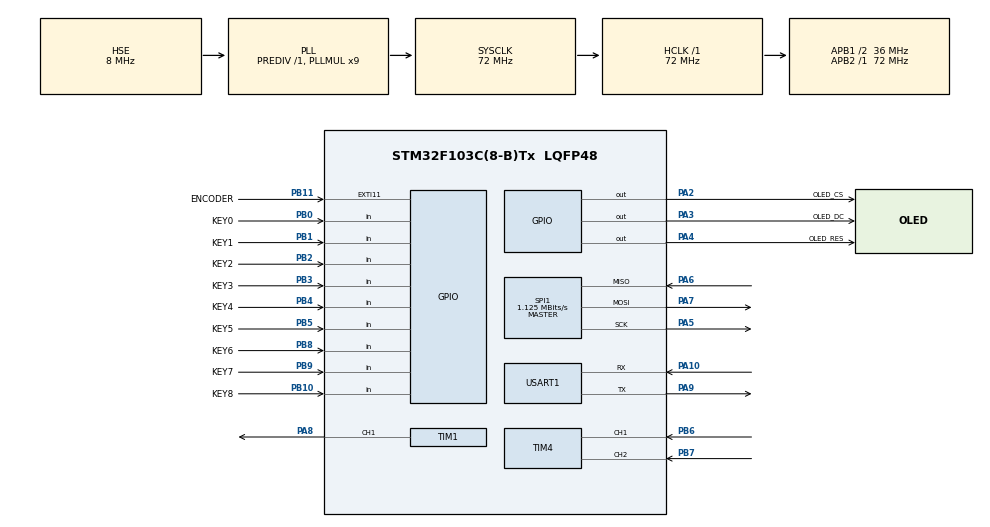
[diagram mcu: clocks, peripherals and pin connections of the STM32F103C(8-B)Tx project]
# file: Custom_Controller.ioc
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Dma.Request0=TIM1_CH1
Dma.TIM1_CH1.0.Direction=DMA_MEMORY_TO_PERIPH
Dma.TIM1_CH1.0.Instance=DMA1_Channel2
Dma.TIM1_CH1.0.MemDataAlignment=DMA_MDATAALIGN_HALFWORD
Dma.TIM1_CH1.0.MemInc=DMA_MINC_ENABLE
Dma.TIM1_CH1.0.Mode=DMA_NORMAL
Dma.TIM1_CH1.0.PeriphDataAlignment=DMA_PDATAALIGN_HALFWORD
Dma.TIM1_CH1.0.PeriphInc=DMA_PINC_DISABLE
Dma.TIM1_CH1.0.Priority=DMA_PRIORITY_HIGH
Mcu.Family=STM32F1
Mcu.Name=STM32F103C(8-B)Tx
Mcu.Package=LQFP48
NVIC.DMA1_Channel2_IRQn=true\:1\:0\:true\:false\:true\:false\:true\:true
NVIC.EXTI15_10_IRQn=true\:2\:0\:true\:false\:true\:true\:true\:true
NVIC.PriorityGroup=NVIC_PRIORITYGROUP_4
NVIC.TIM2_IRQn=true\:1\:0\:true\:false\:true\:true\:true\:true
NVIC.TIM4_IRQn=true\:1\:0\:true\:false\:true\:true\:true\:true
PA10.Mode=Asynchronous
PA10.Signal=USART1_RX
PA13.Mode=Serial_Wire
PA13.Signal=SYS_JTMS-SWDIO
PA14.Mode=Serial_Wire
PA14.Signal=SYS_JTCK-SWCLK
PA2.GPIO_Label=OLED_CS
PA2.Signal=GPIO_Output
PA3.GPIO_Label=OLED_DC
PA3.Signal=GPIO_Output
PA4.GPIO_Label=OLED_RES
PA4.Signal=GPIO_Output
PA5.Mode=Full_Duplex_Master
PA5.Signal=SPI1_SCK
PA6.Mode=Full_Duplex_Master
PA6.Signal=SPI1_MISO
PA7.Mode=Full_Duplex_Master
PA7.Signal=SPI1_MOSI
PA8.GPIO_Speed=GPIO_SPEED_FREQ_HIGH
PA8.Signal=S_TIM1_CH1
PA9.Mode=Asynchronous
PA9.Signal=USART1_TX
PB0.GPIO_Label=KEY0
PB0.Signal=GPIO_Input
PB1.GPIO_Label=KEY1
PB1.Signal=GPIO_Input
PB10.GPIO_Label=KEY8
PB10.Signal=GPIO_Input
PB11.GPIO_Label=ENCODER
PB11.GPIO_ModeDefaultEXTI=GPIO_MODE_IT_FALLING
PB11.GPIO_PuPd=GPIO_PULLUP
PB11.Signal=GPXTI11
PB2.GPIO_Label=KEY2
PB2.Signal=GPIO_Input
PB3.GPIO_Label=KEY3
PB3.Signal=GPIO_Input
PB4.GPIO_Label=KEY4
PB4.Signal=GPIO_Input
PB5.GPIO_Label=KEY5
PB5.Signal=GPIO_Input
PB6.Signal=S_TIM4_CH1
PB7.Signal=S_TIM4_CH2
PB8.GPIO_Label=KEY6
PB8.Signal=GPIO_Input
PB9.GPIO_Label=KEY7
PB9.Signal=GPIO_Input
PD0-OSC_IN.Mode=HSE-External-Oscillator
PD0-OSC_IN.Signal=RCC_OSC_IN
PD1-OSC_OUT.Mode=HSE-External-Oscillator
PD1-OSC_OUT.Signal=RCC_OSC_OUT
ProjectManager.HeapSize=0x200
ProjectManager.StackSize=0x400
ProjectManager.TargetToolchain=CMake
RCC.AHBFreq_Value=72000000
RCC.APB1CLKDivider=RCC_HCLK_DIV2
RCC.APB1Freq_Value=36000000
RCC.APB1TimFreq_Value=72000000
RCC.APB2Freq_Value=72000000
RCC.APB2TimFreq_Value=72000000
RCC.HCLKFreq_Value=72000000
RCC.PLLMUL=RCC_PLL_MUL9
RCC.PLLSourceVirtual=RCC_PLLSOURCE_HSE
RCC.SYSCLKFreq_VALUE=72000000
RCC.SYSCLKSource=RCC_SYSCLKSOURCE_PLLCLK
RCC.USBFreq_Value=72000000
SH.S_TIM1_CH1.0=TIM1_CH1,PWM Generation1 CH1
SH.S_TIM4_CH1.0=TIM4_CH1,Encoder_Interface
SH.S_TIM4_CH2.0=TIM4_CH2,Encoder_Interface
SPI1.BaudRatePrescaler=SPI_BAUDRATEPRESCALER_64
SPI1.CalculateBaudRate=1.125 MBits/s
SPI1.Direction=SPI_DIRECTION_2LINES
SPI1.Mode=SPI_MODE_MASTER
SPI1.VirtualType=VM_MASTER
TIM1.Channel-PWM\ Generation1\ CH1=TIM_CHANNEL_1
TIM1.Period=89
TIM2.AutoReloadPreload=TIM_AUTORELOAD_PRELOAD_ENABLE
TIM2.Period=5000-1
TIM2.Prescaler=72-1
TIM4.EncoderMode=TIM_ENCODERMODE_TI12
USART1.VirtualMode=VM_ASYNC
VP_TIM1_VS_ClockSourceINT.Mode=Internal
VP_TIM2_VS_ClockSourceINT.Mode=Internal
board=custom

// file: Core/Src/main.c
/* USER CODE BEGIN Header */
/**
  ******************************************************************************
  * @file           : main.c
  * @brief          : Main program body
  ******************************************************************************
  * @attention
  *
  * Copyright (c) 2026 STMicroelectronics.
  * All rights reserved.
  *
  * This software is licensed under terms that can be found in the LICENSE file
  * in the root directory of this software component.
  * If no LICENSE file comes with this software, it is provided AS-IS.
  *
  ******************************************************************************
  */
/* USER CODE END Header */
#include "main.h"
#include "dma.h"
#include "spi.h"
#include "stm32f1xx_hal.h"
#include "tim.h"
#include "usart.h"
#include "gpio.h"

/* USER CODE BEGIN Includes */
#include "key.h"
#include "oled.h"
#include "ws2812b.h"
#include "encoder.h"
#include "custom_input_mapper.h"
#include "controller_to_keymouse.h"
#include <stdint.h>
/* USER CODE END Includes */

/* USER CODE BEGIN PM */
void MyKeyCallback(KeyEvent_t event, uint32_t param);      // 按键事件回调函数：根据事件类型发送串口数据、控制RGB等
/* USER CODE END PM */

/* USER CODE BEGIN PV */
static uint8_t key_param = 0;           // 按键事件参数：0-9分别对应9个按键，0表示无效
static uint8_t encoder_param = 0;       // 编码器事件参数：0-2分别对应3个编码器状态，0表示无效，1表示进入买弹面板,2表示进入确认界面
/* USER CODE END PV */

void SystemClock_Config(void);

int main(void)
{

  /* MCU Configuration--------------------------------------------------------*/

  /* Reset of all peripherals, Initializes the Flash interface and the Systick. */
  HAL_Init();

  /* Configure the system clock */
  SystemClock_Config();

  /* Initialize all configured peripherals */
  MX_GPIO_Init();
  MX_DMA_Init();
  MX_USART1_UART_Init();
  MX_SPI1_Init();
  MX_TIM1_Init();
  MX_TIM2_Init();
  MX_TIM4_Init();
  /* USER CODE BEGIN 2 */
  encoder_init();
  OLED_Init();
  ws2812b_init();
  Key_Init();
  custom_input_init();
  Key_RegisterCallback(MyKeyCallback);
  HAL_TIM_Base_Start_IT(&htim2);
  /* USER CODE END 2 */
  OLED_ColorTurn(0);              // 正常显示
  OLED_DisplayTurn(0);            // 不翻转
  OLED_ShowNum(0, 0, 42, 2, 16, 0);
  OLED_ShowString(16, 0, "mmAmmo:", 16, 0);
  OLED_Refresh();  // 刷新OLED显示
  int32_t last_total = 0;
  /* Infinite loop */
  while (1)
  {

    switch (key_param) {
      case 0:   break;
      case 1:   // 发送1弹操作：按下1弹键，点击对应位置，发送确认序列，点亮LED
        buy_42mmammo(1);

        key_param = 0;
        break;
      case 2:   // 发送5弹操作：按下5弹键，点击对应位置，发送确认序列，点亮LED
        buy_42mmammo(5);

        key_param = 0;
        break;
      case 3:   // 发送10弹操作：按下10弹键，点击对应位置，发送确认序列，点亮LED
        buy_42mmammo(10);

        key_param = 0;
        break;
      case 4:

        key_param = 0;
        break;
      case 5:

        key_param = 0;
        break;
      case 6:

        key_param = 0;
        break;
      case 7:

        key_param = 0;
        break;
      case 8:

        key_param = 0;
        break;
      case 9:

        key_param = 0;
        break;
      default:  key_param = 0; break;

    }

    if (encoder_param == 0) {
      // 无效状态，等待事件触发
    } else if (encoder_param == 1) {
      buy_42mmammo(last_total);  // 进入买弹面板：点击对应位置，发送打开购买界面序列
      encoder_param = 0;   // 重置编码器事件参数，等待旋转事件

      for (int i = 0; i < NUM_LEDS; i++) {
          ws2812b_set_color(i, 0, 0, 255);
        }
        ws2812b_show();  // 刷新LED显示

    } else if (encoder_param == 2) {

      //等待旋转编码器事件：根据旋转步数计算购买数量，发送购买操作，更新OLED显示
      int16_t step = encoder_get_count();
      int32_t total = encoder_get_total_count();
      if (step != 0) {
          last_total += step;  // 每步增加1弹
          if (last_total < 0) last_total = 0;  // 不允许负数
          if (last_total > 80) last_total = 80;  // 最大80弹
      }

      OLED_ShowNum(72, 0, last_total, 3, 16, 0);  // 在OLED上显示弹药数量
      OLED_Refresh();  // 刷新OLED显示

    } else {
      encoder_param = 0;   // 重置编码器事件参数
    }
  }
}

//定时器中断回调函数：每 5ms 调用一次按键扫描函数
void HAL_TIM_PeriodElapsedCallback(TIM_HandleTypeDef *htim)
{
    if (htim->Instance == TIM2) {
        Key_UpdateTick();   // 更新时间戳
        Key_TimerScan();   // 每 5ms 调用一次按键扫描
    }
}

//外部中断回调函数：将外部中断事件传递给按键处理函数
// void HAL_GPIO_EXTI_Callback(uint16_t GPIO_Pin) {
//     if(GPIO_Pin == GPIO_PIN_11) {   // 处理按键事件
//         if (encoder_param == 0) {
//           send_key_down(VK_O);  // 发送按键操作（如打开购买界面）
//           encoder_param = 1;   // 进入买弹面板
//         }else if (encoder_param == 1) {
//           encoder_param = 2;   // 进入确认界面
//         }else {
//           encoder_param = 0;   // 重置编码器事件参数
//         }
//     }
// }

// 按键事件回调函数：根据事件类型发送串口数据、控制RGB等
void MyKeyCallback(KeyEvent_t event, uint32_t param) {
  switch (event) {
        case KEY_EVENT_PRESS:        // 短按
            switch (param) {
              case 0:  key_param = 1; break;
              case 1:  key_param = 2; break;
              case 2:  key_param = 3; break;
              case 3:  key_param = 4; break;
              case 4:  key_param = 5; break;
              case 5:  key_param = 6; break;
              case 6:  key_param = 7; break;
              case 7:  key_param = 8; break;
              case 8:  key_param = 9; break;
              case 9:  encoder_param = 1; break;
              default:  key_param = 0; break;
            }
            break;
        case KEY_EVENT_LONG_PRESS:    // 长按

            break;
        case KEY_EVENT_REPEAT:        // 长按重复触发

            break;
        case KEY_EVENT_DOUBLE_CLICK:  // 双击事件
            if (param == 9) {
              encoder_reset_count();  // 重置编码器计数，准备检测旋转事件
              encoder_param = 2;  // 编码器按键双击事件
              for (int i = 0; i < NUM_LEDS; i++) {
                ws2812b_set_color(i, 255, 0, 255);
              }
              ws2812b_show();  // 刷新LED显示
            } else {
              key_param = 0;   // 其他按键不处理双击事件
            }
            break;

        case KEY_EVENT_RELEASE:
            // 释放可做额外处理
            break;
        case KEY_EVENT_COMBO:         // 组合键，param为bitmask

            break;
        default:
            break;
    }
}

void SystemClock_Config(void)
{
  RCC_OscInitTypeDef RCC_OscInitStruct = {0};
  RCC_ClkInitTypeDef RCC_ClkInitStruct = {0};

  /** Initializes the RCC Oscillators according to the specified parameters
  * in the RCC_OscInitTypeDef structure.
  */
  RCC_OscInitStruct.OscillatorType = RCC_OSCILLATORTYPE_HSE;
  RCC_OscInitStruct.HSEState = RCC_HSE_ON;
  RCC_OscInitStruct.HSEPredivValue = RCC_HSE_PREDIV_DIV1;
  RCC_OscInitStruct.HSIState = RCC_HSI_ON;
  RCC_OscInitStruct.PLL.PLLState = RCC_PLL_ON;
  RCC_OscInitStruct.PLL.PLLSource = RCC_PLLSOURCE_HSE;
  RCC_OscInitStruct.PLL.PLLMUL = RCC_PLL_MUL9;
  if (HAL_RCC_OscConfig(&RCC_OscInitStruct) != HAL_OK)
  {
    Error_Handler();
  }

  /** Initializes the CPU, AHB and APB buses clocks
  */
  RCC_ClkInitStruct.ClockType = RCC_CLOCKTYPE_HCLK|RCC_CLOCKTYPE_SYSCLK
                              |RCC_CLOCKTYPE_PCLK1|RCC_CLOCKTYPE_PCLK2;
  RCC_ClkInitStruct.SYSCLKSource = RCC_SYSCLKSOURCE_PLLCLK;
  RCC_ClkInitStruct.AHBCLKDivider = RCC_SYSCLK_DIV1;
  RCC_ClkInitStruct.APB1CLKDivider = RCC_HCLK_DIV2;
  RCC_ClkInitStruct.APB2CLKDivider = RCC_HCLK_DIV1;

  if (HAL_RCC_ClockConfig(&RCC_ClkInitStruct, FLASH_LATENCY_2) != HAL_OK)
  {
    Error_Handler();
  }
}

void Error_Handler(void)
{
  __disable_irq();
  while (1)
  {
  }
}
